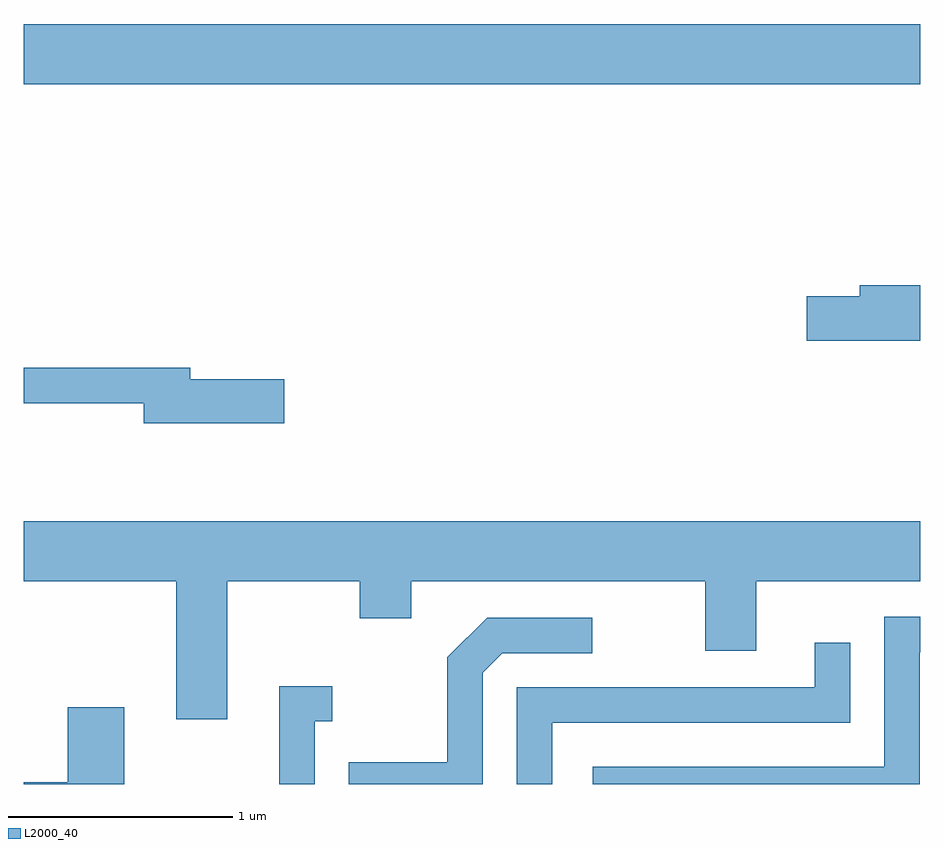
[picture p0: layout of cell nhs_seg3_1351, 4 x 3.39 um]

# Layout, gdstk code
import gdstk
lib = gdstk.Library(unit=1e-6, precision=1e-09)
def R(c, l, rs):  # rectangles x0, y0, x1, y1
    for r in rs: c.add(gdstk.rectangle(r[:2], r[2:], *l))
def P(c, l, *ps):  # polygons
    for p in ps: c.add(gdstk.Polygon(p, *l))
L2000_40 = (2000, 40)

nhs_seg3_1351 = lib.new_cell('nhs_seg3_1351')
R(nhs_seg3_1351, L2000_40, [(223.611,1237.016,227.611,1237.284)])
P(nhs_seg3_1351, L2000_40, [(227.611,1236.119),(227.341,1236.119),(227.341,1236.069),(227.106,1236.069),(227.106,1235.871),(227.611,1235.871)],
  [(224.774,1235.699),(224.354,1235.699),(224.354,1235.749),(223.611,1235.749),(223.611,1235.591),(224.146,1235.591),(224.146,1235.501),(224.774,1235.501)],
  [(224.519,1234.796),(225.111,1234.796),(225.111,1234.631),(225.339,1234.631),(225.339,1234.796),(226.651,1234.796),(226.651,1234.486),(226.879,1234.486),(226.879,1234.796),(227.611,1234.796),(227.611,1235.064),(223.611,1235.064),(223.611,1234.796),(224.291,1234.796),(224.291,1234.181),(224.519,1234.181)],
  [(227.609,1234.481),(227.611,1234.481),(227.611,1234.639),(227.451,1234.639),(227.451,1233.969),(226.151,1233.969),(226.151,1233.892),(227.609,1233.892)],
  [(225.659,1234.389),(225.747,1234.476),(226.148,1234.476),(226.148,1234.634),(225.679,1234.634),(225.501,1234.457),(225.501,1233.989),(225.061,1233.989),(225.061,1233.892),(225.659,1233.892)],
  [(225.969,1234.166),(227.299,1234.166),(227.299,1234.523),(227.141,1234.523),(227.141,1234.324),(225.811,1234.324),(225.811,1233.892),(225.969,1233.892)],
  [(224.909,1234.171),(224.988,1234.171),(224.988,1234.329),(224.751,1234.329),(224.751,1233.892),(224.909,1233.892)],
  [(224.059,1234.234),(223.806,1234.234),(223.806,1233.899),(223.611,1233.899),(223.611,1233.892),(224.059,1233.892)])

lib.write_gds('nhs_seg3_1351.gds')
